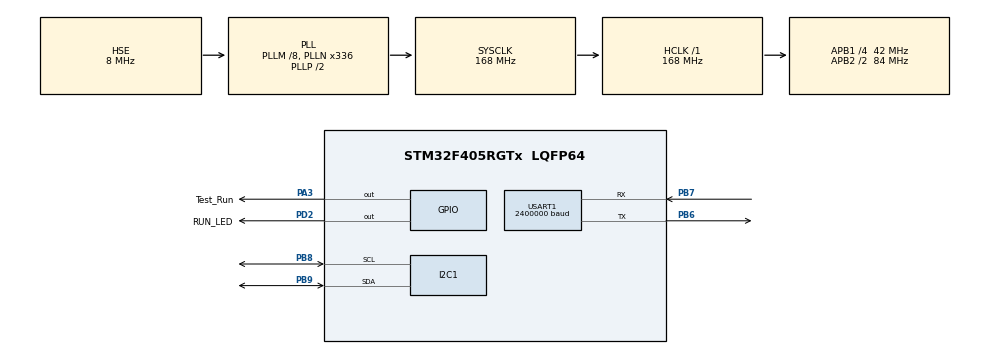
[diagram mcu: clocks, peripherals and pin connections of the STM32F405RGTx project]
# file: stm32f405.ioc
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Dma.Request0=USART1_RX
Dma.USART1_RX.0.Direction=DMA_PERIPH_TO_MEMORY
Dma.USART1_RX.0.FIFOMode=DMA_FIFOMODE_DISABLE
Dma.USART1_RX.0.Instance=DMA2_Stream2
Dma.USART1_RX.0.MemDataAlignment=DMA_MDATAALIGN_BYTE
Dma.USART1_RX.0.MemInc=DMA_MINC_ENABLE
Dma.USART1_RX.0.Mode=DMA_NORMAL
Dma.USART1_RX.0.PeriphDataAlignment=DMA_PDATAALIGN_BYTE
Dma.USART1_RX.0.PeriphInc=DMA_PINC_DISABLE
Dma.USART1_RX.0.Priority=DMA_PRIORITY_HIGH
Mcu.Family=STM32F4
Mcu.Name=STM32F405RGTx
Mcu.Package=LQFP64
NVIC.DMA2_Stream2_IRQn=true\:0\:0\:false\:false\:true\:false\:true\:true
NVIC.PriorityGroup=NVIC_PRIORITYGROUP_4
NVIC.TIM8_TRG_COM_TIM14_IRQn=true\:0\:0\:false\:false\:true\:true\:true\:true
NVIC.USART1_IRQn=true\:1\:0\:true\:false\:true\:true\:true\:true
PA13.Mode=Serial_Wire
PA13.Signal=SYS_JTMS-SWDIO
PA14.Mode=Serial_Wire
PA14.Signal=SYS_JTCK-SWCLK
PA3.GPIO_Label=Test_Run
PA3.GPIO_PuPd=GPIO_PULLDOWN
PA3.GPIO_Speed=GPIO_SPEED_FREQ_VERY_HIGH
PA3.PinState=GPIO_PIN_RESET
PA3.Signal=GPIO_Output
PB6.GPIO_Speed=GPIO_SPEED_FREQ_HIGH
PB6.Mode=Asynchronous
PB6.Signal=USART1_TX
PB7.GPIO_Speed=GPIO_SPEED_FREQ_HIGH
PB7.Mode=Asynchronous
PB7.Signal=USART1_RX
PB8.Mode=I2C
PB8.Signal=I2C1_SCL
PB9.Mode=I2C
PB9.Signal=I2C1_SDA
PD2.GPIO_Label=RUN_LED
PD2.GPIO_PuPd=GPIO_PULLDOWN
PD2.GPIO_Speed=GPIO_SPEED_FREQ_MEDIUM
PD2.PinState=GPIO_PIN_RESET
PD2.Signal=GPIO_Output
PH0-OSC_IN.Mode=HSE-External-Oscillator
PH0-OSC_IN.Signal=RCC_OSC_IN
PH1-OSC_OUT.Mode=HSE-External-Oscillator
PH1-OSC_OUT.Signal=RCC_OSC_OUT
ProjectManager.HeapSize=0x200
ProjectManager.StackSize=0x400
ProjectManager.TargetToolchain=MDK-ARM V5.32
RCC.48MHZClocksFreq_Value=84000000
RCC.AHBFreq_Value=168000000
RCC.APB1CLKDivider=RCC_HCLK_DIV4
RCC.APB1Freq_Value=42000000
RCC.APB1TimFreq_Value=84000000
RCC.APB2CLKDivider=RCC_HCLK_DIV2
RCC.APB2Freq_Value=84000000
RCC.APB2TimFreq_Value=168000000
RCC.CortexFreq_Value=168000000
RCC.HCLKFreq_Value=168000000
RCC.HSE_VALUE=8000000
RCC.HSI_VALUE=16000000
RCC.LSE_VALUE=32768
RCC.PLLM=8
RCC.PLLN=336
RCC.PLLSourceVirtual=RCC_PLLSOURCE_HSE
RCC.SYSCLKFreq_VALUE=168000000
RCC.SYSCLKSource=RCC_SYSCLKSOURCE_PLLCLK
RCC.VCOOutputFreq_Value=336000000
TIM14.AutoReloadPreload=TIM_AUTORELOAD_PRELOAD_ENABLE
TIM14.Period=100-1
TIM14.Prescaler=84-1
USART1.BaudRate=2400000
USART1.VirtualMode=VM_ASYNC
VP_TIM14_VS_ClockSourceINT.Mode=Enable_Timer
board=custom

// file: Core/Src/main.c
/* USER CODE BEGIN Header */
/**
  ******************************************************************************
  * @file           : main.c
  * @brief          : Main program body
  ******************************************************************************
  * @attention
  *
  * Copyright (c) 2024 STMicroelectronics.
  * All rights reserved.
  *
  * This software is licensed under terms that can be found in the LICENSE file
  * in the root directory of this software component.
  * If no LICENSE file comes with this software, it is provided AS-IS.
  *
  ******************************************************************************
  */
/* USER CODE END Header */
#include "main.h"
#include "dma.h"
#include "i2c.h"
#include "tim.h"
#include "usart.h"
#include "gpio.h"

/* USER CODE BEGIN PTD */
volatile uint8_t JS_RTT_BufferUp1[2048] = {0,};
const uint8_t JS_RTT_Channel = 1;
/* USER CODE END PTD */

/* USER CODE BEGIN PV */
#define SINE_TABLE_SIZE 100
const uint8_t sineTable[SINE_TABLE_SIZE] = {
    128, 136, 144, 152, 160, 167, 175, 182, 189, 196, 202, 208, 214, 219, 224, 229, 233, 237, 240, 243,
    246, 248, 250, 251, 252, 251, 250, 248, 246, 243, 240, 237, 233, 229, 224, 219, 214, 208, 202, 196,
    189, 182, 175, 167, 160, 152, 144, 136, 128, 120, 112, 104,  96,  89,  81,  74, 67,  60,  54,  48,
    42,  37,  32,  27,  23,  19,  16,  13,  10,   8,   6,   5,   4,   3,   3,   3,  4,   5,   6,   8,
    10,  13,  16,  19,  23,  27,  32,  37,  42,  48,  54,  60,  67,  74,  81,  89,  96, 104, 112, 120
}; // 预先计算的正弦波数据

// JScope_t4u4u4的数据结构
typedef struct {
    volatile uint32_t timestamp;
    volatile uint32_t msg1;
    volatile uint32_t msg2;
}RTT_MSG_U1I1;

const uint8_t JscopeChannel = 1; // 通道1（J-Scope不能用通道0）
volatile uint8_t sineIndex = 0;
volatile uint8_t sineValue = 0;
volatile uint8_t numbool = 0;
RTT_MSG_U1I1 rtt_JsMsg;
/* USER CODE END PV */

void SystemClock_Config(void);

int main(void)
{

  /* MCU Configuration--------------------------------------------------------*/

  /* Reset of all peripherals, Initializes the Flash interface and the Systick. */
  HAL_Init();

  /* Configure the system clock */
  SystemClock_Config();

  /* Initialize all configured peripherals */
  MX_GPIO_Init();
  MX_DMA_Init();
  MX_USART1_UART_Init();
  MX_I2C1_Init();
  MX_TIM14_Init();
  /* USER CODE BEGIN 2 */
  // 配置MCU -> PC缓冲区（上行缓存区）
  SEGGER_RTT_ConfigUpBuffer(JscopeChannel,                  // 通道号
                            // 通道名字（命名有意义的，一定要按照官方文档“RTT channel naming convention”的规范来）
                            "JScope_t4u4u4",              // 数据包含1个32位的时间戳与1个uint32_t变量、1个uint32_t变量
                            (uint8_t*)&JS_RTT_BufferUp1[0], // 缓存地址
                            sizeof(JS_RTT_BufferUp1),       // 缓存大小
                            SEGGER_RTT_MODE_NO_BLOCK_SKIP); // 非阻塞
  DWT_Timer_Init(); // 初始化DWT定时器
  HAL_Delay(10);
  HAL_TIM_Base_Start_IT(&htim14); // 开启定时器中断
  /* USER CODE END 2 */

  /* Infinite loop */
  while (1)
  {

    /* USER CODE BEGIN 3 */
    HAL_GPIO_TogglePin(RUN_LED_GPIO_Port,RUN_LED_Pin);
    //SEGGER_RTT_printf(0, "Dwt:%d\n",DWT_Get_Microsecond()); // 通过0，RTT默认初始化了缓存区，所以可以省去配置缓存区
    HAL_Delay(100);
  }
  /* USER CODE END 3 */
}

void SystemClock_Config(void)
{
  RCC_OscInitTypeDef RCC_OscInitStruct = {0};
  RCC_ClkInitTypeDef RCC_ClkInitStruct = {0};

  /** Configure the main internal regulator output voltage
  */
  __HAL_RCC_PWR_CLK_ENABLE();
  __HAL_PWR_VOLTAGESCALING_CONFIG(PWR_REGULATOR_VOLTAGE_SCALE1);

  /** Initializes the RCC Oscillators according to the specified parameters
  * in the RCC_OscInitTypeDef structure.
  */
  RCC_OscInitStruct.OscillatorType = RCC_OSCILLATORTYPE_HSE;
  RCC_OscInitStruct.HSEState = RCC_HSE_ON;
  RCC_OscInitStruct.PLL.PLLState = RCC_PLL_ON;
  RCC_OscInitStruct.PLL.PLLSource = RCC_PLLSOURCE_HSE;
  RCC_OscInitStruct.PLL.PLLM = 8;
  RCC_OscInitStruct.PLL.PLLN = 336;
  RCC_OscInitStruct.PLL.PLLP = RCC_PLLP_DIV2;
  RCC_OscInitStruct.PLL.PLLQ = 4;
  if (HAL_RCC_OscConfig(&RCC_OscInitStruct) != HAL_OK)
  {
    Error_Handler();
  }

  /** Initializes the CPU, AHB and APB buses clocks
  */
  RCC_ClkInitStruct.ClockType = RCC_CLOCKTYPE_HCLK|RCC_CLOCKTYPE_SYSCLK
                              |RCC_CLOCKTYPE_PCLK1|RCC_CLOCKTYPE_PCLK2;
  RCC_ClkInitStruct.SYSCLKSource = RCC_SYSCLKSOURCE_PLLCLK;
  RCC_ClkInitStruct.AHBCLKDivider = RCC_SYSCLK_DIV1;
  RCC_ClkInitStruct.APB1CLKDivider = RCC_HCLK_DIV4;
  RCC_ClkInitStruct.APB2CLKDivider = RCC_HCLK_DIV2;

  if (HAL_RCC_ClockConfig(&RCC_ClkInitStruct, FLASH_LATENCY_5) != HAL_OK)
  {
    Error_Handler();
  }
}

/* USER CODE BEGIN 4 */
void HAL_TIM_PeriodElapsedCallback(TIM_HandleTypeDef *htim)
{
    if (htim == (&htim14))
    {
        // 输出正弦波数据
        sineValue = sineTable[sineIndex];
        // 更新索引
        sineIndex++;
        if (sineIndex >= SINE_TABLE_SIZE)
        {
            sineIndex = 0; // 重置索引
        }

        // 反转，产生方波
        if (numbool == 0) {
            numbool = 1;
        } else {
            numbool = 0;
        }
        // 将数据放入消息包
        rtt_JsMsg.timestamp = DWT_Get_Microsecond(); // 从dwt定时器获取时间戳
        rtt_JsMsg.msg1 = sineValue;
        rtt_JsMsg.msg2 = numbool;
        SEGGER_RTT_Write(JscopeChannel,&rtt_JsMsg,sizeof(rtt_JsMsg));
    }
}
/* USER CODE END 4 */

void Error_Handler(void)
{
  __disable_irq();
  while (1)
  {
  }
}
